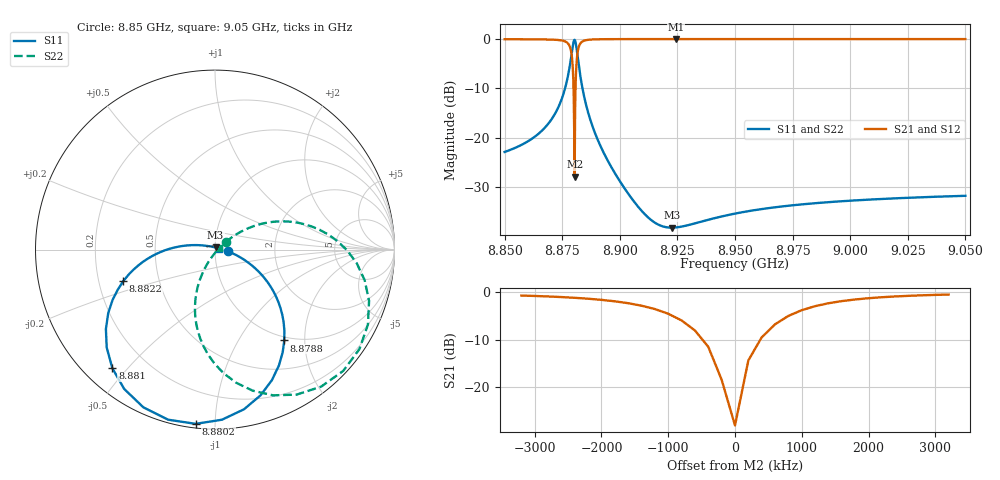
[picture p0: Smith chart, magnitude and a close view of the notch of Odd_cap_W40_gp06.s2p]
! Sonnet Data File
! From: emgraph Version : 16.52
! From Project: Resonator2
! Data is De-embedded
! Data File Written: 10/09/2017 23:05:25
!< HDATE 10/09/2017 14:49:56
!< MDATE 10/09/2017 18:05:28
!< PARAMS
!< gap = 6.0
!< Length = 400.0
!< Pwid1 = 2000.0
!< Pwid2 = 2000.0
!< Airgap = 24.0
!< Width = 40.0
!< END PARAMS
# GHZ S MA R 45.40000
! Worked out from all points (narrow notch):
!   1001 points, 8.85 GHz to 9.05 GHz, reference 45.4 ohm
!   highest |S21| = 0.00 dB at 8.9244 GHz (marker M1); lowest = -28.0 dB at 8.8804 GHz (marker M2)
!   notch at M2: 28.0 dB deep, 542 kHz wide at half that depth
!   lowest |S11| = -38.3 dB at 8.9226 GHz (marker M3), VSWR 1.02, Z = 45.7 + j1.08 ohm
!   |S11| at or under -10 dB: start of sweep to 8.876241 GHz; 8.8838 GHz to end of sweep
!   |S22| runs from -38.3 to -0.1 dB; largest |S21 - S12| = 0
!   S11 on the Smith chart (normalised r, x): 8.85 GHz: 1.15, -0.02; 8.8788 GHz: 0.94, -1.60; 8.8802 GHz: 0.02, -0.90; 8.881 GHz: 0.08, -0.45; 8.8822 GHz: 0.31, -0.15; 9.05 GHz: 1.05, +0.01
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8.85  0.07151 -7.3  0.9974 -76.1  0.9974 -76.1  0.07152 35.1
!< P1 F=8.85 Eeff=(5.09005347 -2.2131e-5) Z0=(45.4117489 1.00331e-4) R=0.0 C=0.0
!< P2 F=8.85 Eeff=(5.09005347 -2.2131e-5) Z0=(45.4117489 1.00331e-4) R=0.0 C=0.0
8.8648  0.1099 -13.1  0.9938 -78.4  0.9938 -78.4  0.1099 36.1
8.8738  0.2153 -22.6  0.9759 -84.7  0.9759 -84.7  0.2154 33.0
8.877  0.3727 -33.7  0.9258 -94.2  0.9258 -94.2  0.3728 24.8
8.8788  0.6367 -52.7  0.763 -111.8  0.763 -111.8  0.6369 7.6
8.8796  0.8504 -72.6  0.5036 -130.5  0.5036 -130.5  0.8507 -11.5
8.8802  0.9768 -96.3  0.1205 -147.9  0.1205 -147.9  0.9771 -34.6
8.8804  0.983 -105.4  0.04002 -8.2  0.04002 -8.2  0.9834 -43.4
8.881  0.8736 -130.9  0.459 -11.4  0.459 -11.4  0.874 -68.3
8.8816  0.6917 -149.3  0.7105 -28.6  0.7105 -28.6  0.692 -85.9
8.8822  0.5408 -161.0  0.8349 -39.6  0.8349 -39.6  0.541 -96.9
8.8834  0.3552 -173.9  0.9322 -51.5  0.9322 -51.5  0.3554 -108.3
8.887  0.157 171.5  0.987 -63.4  0.987 -63.4  0.1571 -117.8
8.895  0.05702 157.6  0.9982 -69.2  0.9982 -69.2  0.05707 -115.8
8.9072  0.0209 131.9  0.9997 -71.5  0.9997 -71.5  0.02093 -94.8
8.9168  0.01306 97.8  0.9999 -72.3  0.9999 -72.3  0.01309 -62.4
8.9226  0.01219 76.3  0.9999 -72.7  0.9999 -72.7  0.01221 -41.5
8.9244  0.01225 70.5  0.9999 -72.7  0.9999 -72.7  0.01227 -36.0
8.95  0.01693 31.6  0.9998 -73.6  0.9998 -73.6  0.01694 1.3
8.9834  0.02145 19.5  0.9998 -74.2  0.9998 -74.2  0.02145 12.1
9.0168  0.02403 14.9  0.9997 -74.6  0.9997 -74.6  0.02403 15.8
9.05  0.02566 12.4  0.9997 -75.0  0.9997 -75.0  0.02566 17.6
